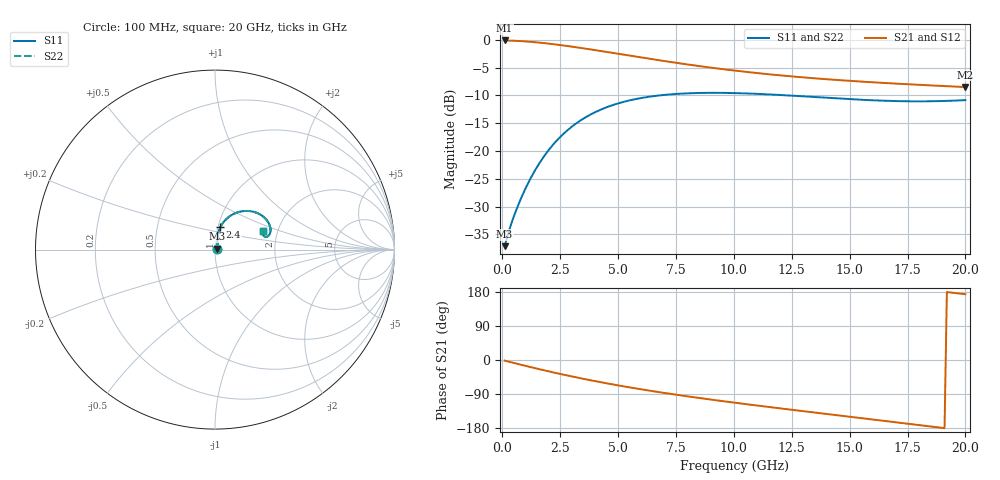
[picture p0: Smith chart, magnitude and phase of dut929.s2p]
! Touchstone file exported from HFSS 2024.1.0
!  File:  C:/UserFiles/LocalFiles/RDL_TSV_Batchsim/temp_RDL_TSV_929_1779960420.aedt
!  Generated:  05:41:56 PM May 28, 2026
!  Design:  RDL_TSV
!  Project:  temp_RDL_TSV_929_1779960420
!  Setup:  Setup1
!  Solution:  Sweep
! Variables:
!  dtsv = 6.15um
!  hbump = 3um
!  htsv = 59.44um
!  ldown = 291.93um
!  lrdl = 494.95um
!  p = 40
!  p1 = 57.79um
!  rhole = 10um
!  subl = 2855.59um
!  t = 450um
!  tdown = 3.12um
!  trdl = 4.11um
!  viad = 10um
!  wdown = 17.87um
!  wrdl = 28.98um
!  xbump = 18um
# GHz S MA R 50.000000
! Terminal data exported
! Port[1] = TM1_1_T1
! Port[2] = TM1_4_T1
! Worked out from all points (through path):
!   200 points, 100 MHz to 20 GHz, reference 50 ohm
!   highest |S21| = -0.12 dB at 100 MHz (marker M1); lowest = -8.5 dB at 20 GHz (marker M2)
!   group delay of S21, straight-line fit = 24.4 ps
!   lowest |S11| = -37.1 dB at 100 MHz (marker M3), VSWR 1.03, Z = 51.3 + j0.503 ohm
!   |S11| at or under -10 dB: start of sweep to 6.784 GHz; 12.34 GHz to end of sweep
!   |S22| runs from -37.1 to -9.5 dB; largest |S21 - S12| = 1e-14
!   S11 on the Smith chart (normalised r, x): 100 MHz: 1.03, +0.01; 2.4 GHz: 1.03, +0.26; 20 GHz: 1.68, +0.38
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0.1  0.01395 20.6  0.9867 -1.6  0.9867 -1.6  0.01395 20.6
! Gamma 0 0 0 0
! Port Impedance 50 0 50 0
0.3  0.01948 43.9  0.9841 -4.8  0.9841 -4.8  0.01948 43.9
0.5  0.02586 56.6  0.9806 -7.8  0.9806 -7.8  0.02586 56.6
0.8  0.03717 68.4  0.9736 -12.4  0.9736 -12.4  0.03717 68.3
1.1  0.05074 74.9  0.9641 -16.9  0.9641 -16.9  0.05073 74.8
1.4  0.06632 78.1  0.9526 -21.4  0.9526 -21.4  0.06631 78.0
1.7  0.08352 79.1  0.9392 -25.7  0.9392 -25.7  0.08349 79.1
2.4  0.1273 76.7  0.903 -35.5  0.903 -35.5  0.1272 76.7
2.9  0.1591 72.9  0.8744 -42.1  0.8744 -42.1  0.159 72.9
3.5  0.1954 67.5  0.8387 -49.6  0.8387 -49.6  0.1953 67.4
4.2  0.233 60.7  0.7966 -58.0  0.7966 -58.0  0.2329 60.7
5  0.268 53.3  0.7494 -67.0  0.7494 -67.0  0.2678 53.3
5.9  0.2971 45.6  0.6993 -76.4  0.6993 -76.4  0.2969 45.6
6.8  0.3165 38.9  0.6536 -85.1  0.6536 -85.1  0.3163 38.8
8.4  0.3324 29.1  0.5843 -99.4  0.5843 -99.4  0.3322 29.1
10.1  0.3316 21.7  0.527 -113.2  0.527 -113.2  0.3314 21.7
11.7  0.3216 17.0  0.4857 -125.4  0.4857 -125.4  0.3214 17.0
13.4  0.3066 14.4  0.4521 -138.0  0.4521 -138.0  0.3064 14.4
15  0.2927 14.0  0.4277 -149.7  0.4277 -149.7  0.2926 14.0
16.7  0.2824 15.5  0.407 -162.2  0.407 -162.2  0.2822 15.6
18.3  0.28 18.2  0.3909 -173.9  0.3909 -173.9  0.2798 18.2
20  0.2868 21.2  0.376 173.5  0.376 173.5  0.2867 21.3
